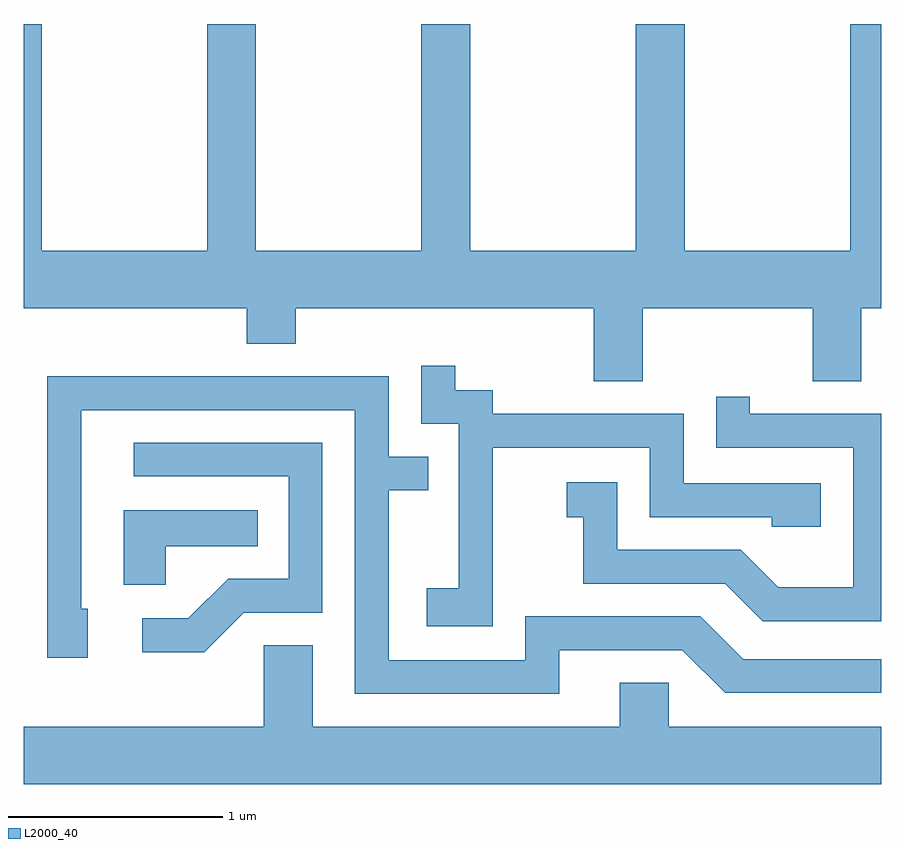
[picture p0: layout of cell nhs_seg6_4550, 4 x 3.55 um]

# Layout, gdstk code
import gdstk
lib = gdstk.Library(unit=1e-6, precision=1e-09)
def P(c, l, *ps):  # polygons
    for p in ps: c.add(gdstk.Polygon(p, *l))
L2000_40 = (2000, 40)

nhs_seg6_4550 = lib.new_cell('nhs_seg6_4550')
P(nhs_seg6_4550, L2000_40, [(326.499,1638.836),(327.291,1638.836),(327.291,1638.496),(327.519,1638.496),(327.519,1638.836),(327.611,1638.836),(327.611,1640.162),(327.466,1640.162),(327.466,1639.104),(326.694,1639.104),(326.694,1640.162),(326.466,1640.162),(326.466,1639.104),(325.694,1639.104),(325.694,1640.162),(325.466,1640.162),(325.466,1639.104),(324.694,1639.104),(324.694,1640.162),(324.466,1640.162),(324.466,1639.104),(323.694,1639.104),(323.694,1640.162),(323.611,1640.162),(323.611,1638.836),(324.651,1638.836),(324.651,1638.671),(324.879,1638.671),(324.879,1638.836),(326.271,1638.836),(326.271,1638.496),(326.499,1638.496)],
  [(325.799,1638.186),(326.531,1638.186),(326.531,1637.861),(327.101,1637.861),(327.101,1637.816),(327.329,1637.816),(327.329,1638.019),(326.689,1638.019),(326.689,1638.344),(325.799,1638.344),(325.799,1638.454),(325.624,1638.454),(325.624,1638.568),(325.466,1638.568),(325.466,1638.296),(325.641,1638.296),(325.641,1637.529),(325.491,1637.529),(325.491,1637.351),(325.799,1637.351)],
  [(326.109,1637.241),(326.684,1637.241),(326.884,1637.041),(327.611,1637.041),(327.611,1637.199),(326.967,1637.199),(326.767,1637.399),(325.951,1637.399),(325.951,1637.194),(325.314,1637.194),(325.314,1637.986),(325.498,1637.986),(325.498,1638.144),(325.314,1638.144),(325.314,1638.519),(323.721,1638.519),(323.721,1637.206),(323.909,1637.206),(323.909,1637.434),(323.879,1637.434),(323.879,1638.361),(325.156,1638.361),(325.156,1637.036),(326.109,1637.036)],
  [(327.611,1638.344),(326.999,1638.344),(326.999,1638.423),(326.841,1638.423),(326.841,1638.186),(327.481,1638.186),(327.481,1637.534),(327.132,1637.534),(326.957,1637.709),(326.379,1637.709),(326.379,1638.024),(326.143,1638.024),(326.143,1637.861),(326.221,1637.861),(326.221,1637.551),(326.884,1637.551),(327.059,1637.376),(327.611,1637.376)],
  [(324.637,1637.416),(325.004,1637.416),(325.004,1638.209),(324.123,1638.209),(324.123,1638.051),(324.846,1638.051),(324.846,1637.574),(324.564,1637.574),(324.379,1637.389),(324.163,1637.389),(324.163,1637.231),(324.452,1637.231)],
  [(324.274,1637.726),(324.703,1637.726),(324.703,1637.894),(324.076,1637.894),(324.076,1637.546),(324.274,1637.546)],
  [(327.611,1636.884),(326.619,1636.884),(326.619,1637.089),(326.391,1637.089),(326.391,1636.884),(324.959,1636.884),(324.959,1637.264),(324.731,1637.264),(324.731,1636.884),(323.611,1636.884),(323.611,1636.616),(327.611,1636.616)])

lib.write_gds('nhs_seg6_4550.gds')
